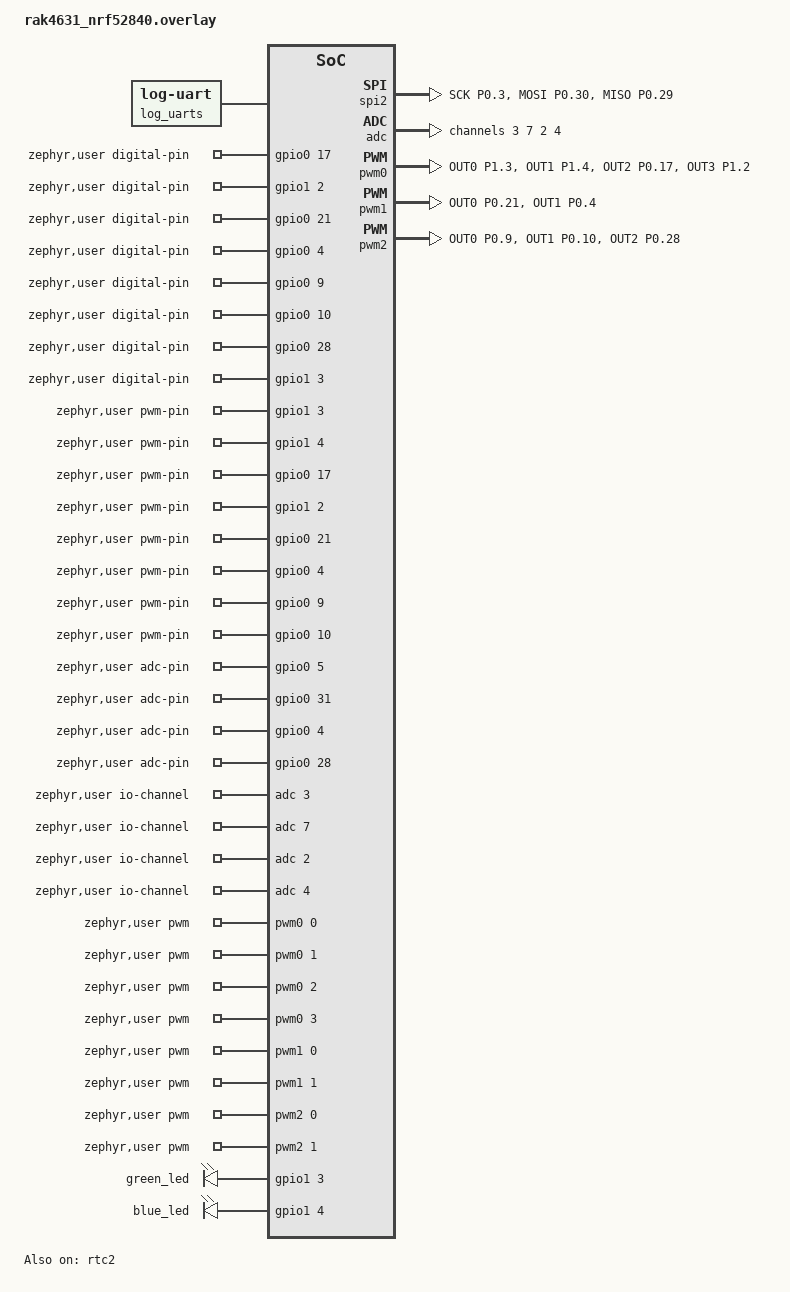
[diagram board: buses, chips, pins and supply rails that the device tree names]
/*
 * Copyright (c) 2026 RAKwireless Technology Limited
 * Author: sercan.erat@rakwireless.com
 * SPDX-License-Identifier: Apache-2.0
 */

/{
	chosen {
		zephyr,console = &board_cdc_acm_logging;
		zephyr,log-uart = &log_uarts;
		zephyr,shell-uart = &board_cdc_acm_shell;
		zephyr,code-partition = &code_partition;
	};

	aliases {
		/* LED_BUILTIN resolves to the green LED (D7). */
		led0 = &green_led;
	};

	log_uarts: log_uarts {
		compatible = "zephyr,log-uart";
		uarts = <&board_cdc_acm_logging>;
	};
};

/*
 * USB CDC-ACM ports, in enumeration order:
 *  1. logging: console (printk/stdout msg)+ log backend
 *  2. sketch:  the sketch's 'Serial' (SerialUSB)
 *  3. shell:   Zephyr shell (debug builds only, unused otherwise)
 */
&zephyr_udc0 {
	board_cdc_acm_logging: board_cdc_acm_logging {
		compatible = "zephyr,cdc-acm-uart";
		status = "okay";
	};

	board_cdc_acm_sketch: board_cdc_acm_sketch {
		compatible = "zephyr,cdc-acm-uart";
		status = "okay";
	};

	board_cdc_acm_shell: board_cdc_acm_shell {
		compatible = "zephyr,cdc-acm-uart";
		status = "okay";
	};

	num-bidir-endpoints = <1>;
	num-in-endpoints = <6>;
	num-out-endpoints = <3>;
	num-isoin-endpoints = <0>;
	num-isoout-endpoints = <0>;
};

/*
 * The RAK4631 LEDs are active high: green on P1.03 (D7),
 * blue on P1.04 (D8). The base board declares them active low.
 */
&green_led {
	gpios = <&gpio1 3 GPIO_ACTIVE_HIGH>;
};

&blue_led {
	gpios = <&gpio1 4 GPIO_ACTIVE_HIGH>;
};

/* WB_IO5/WB_IO6 (P0.09/P0.10) are the NFC pins; use them as GPIOs. */
&nfct {
	status = "disabled";
};

&uicr {
	nfct-pins-as-gpios;
};

/* RTC backend for the Arduino RTC library */
&rtc2 {
	status = "okay";
};

/* Shares the TWI1/SPI1 instance with the SX1262 SPI; keep disabled. */
&i2c1 {
	status = "disabled";
};

/*
 * The board enables QSPI on P0.03/P0.30/P0.29/P0.28/P0.02/P0.26, but
 * these pins are repurposed as SPI2, A3/D6 and the D11 CS GPIO.
 */
&qspi {
	status = "disabled";
	pinctrl-0 = <&qspi_default>;
	pinctrl-1 = <&qspi_sleep>;
	pinctrl-names = "default", "sleep";
};

/* WisBlock header SPI: SCK P0.03, MOSI P0.30, MISO P0.29 */
&spi2 {
	compatible = "nordic,nrf-spi";
	status = "okay";
	cs-gpios = <&gpio0 26 GPIO_ACTIVE_LOW>;
	pinctrl-0 = <&spi2_default>;
	pinctrl-1 = <&spi2_sleep>;
	pinctrl-names = "default", "sleep";
};

/delete-node/ &boot_partition;
/delete-node/ &slot0_partition;
/delete-node/ &slot1_partition;

&flash0 {
	partitions {
		compatible = "fixed-partitions";
		#address-cells = <1>;
		#size-cells = <1>;

		code_partition: partition@0 {
			label = "code";
			reg = <0x00000000 0x00070000>;
			read-only;
		};

		user_sketch: partition@70000 {
			label = "user";
			reg = <0x070000 0x88000>;
		};

		/*
		 * The flash starting at 0x000f8000 and ending at
		 * 0x000fffff is reserved for use by the application.
		 *
		 * Storage partition will be used by FCB/LittleFS/NVS
		 * if enabled.
		 */
		storage_partition: partition@f8000 {
			label = "storage";
			reg = <0x000f8000 0x00008000>;
		};
	};
};

/* Arduino API pin mappings */
/ {
	zephyr,user {
		digital-pin-gpios = <&gpio0 17 0>,	/* D0 - WB_IO1 */
				    <&gpio1 2 0>,	/* D1 - WB_IO2 */
				    <&gpio0 21 0>,	/* D2 - WB_IO3 */
				    <&gpio0 4 0>,	/* D3 - WB_IO4 */
				    <&gpio0 9 0>,	/* D4 - WB_IO5 */
				    <&gpio0 10 0>,	/* D5 - WB_IO6 */
				    <&gpio0 28 0>,	/* D6 - WB_IO7 (AIN4) */
				    <&gpio1 3 0>,	/* D7 - green LED */
				    <&gpio1 4 0>,	/* D8 - blue LED */
				    <&gpio0 5 0>,	/* D9 - WB_A0 (AIN3) */
				    <&gpio0 31 0>,	/* D10 - WB_A1 (AIN7) */
				    <&gpio0 26 0>,	/* D11 - WB_SPI_CS */
				    <&gpio1 1 0>;	/* D12 - WB_SW1 */

		pwm-pin-gpios = <&gpio1 3 0>,	/* D7 - green LED */
				<&gpio1 4 0>,	/* D8 - blue LED */
				<&gpio0 17 0>,	/* D0 - WB_IO1 */
				<&gpio1 2 0>,	/* D1 - WB_IO2 */
				<&gpio0 21 0>,	/* D2 - WB_IO3 */
				<&gpio0 4 0>,	/* D3 - WB_IO4 */
				<&gpio0 9 0>,	/* D4 - WB_IO5 */
				<&gpio0 10 0>,	/* D5 - WB_IO6 */
				<&gpio0 28 0>;	/* D6 - WB_IO7 */

		/*
		 * WisBlock analog pins. On the RAK19007 base board, A0
		 * (WB_A0/AIN0) is also wired to the battery voltage
		 * divider (1.5 MOhm / 2.5 MOhm): VBAT = A0 * 5 / 3.
		 */
		adc-pin-gpios = <&gpio0 5 0>,	/* A0 - WB_A0 */
				<&gpio0 31 0>,	/* A1 - WB_A1 */
				<&gpio0 4 0>,	/* A2 - WB_IO4 (D3) */
				<&gpio0 28 0>;	/* A3 - WB_IO7 (D6) */

		pwms = <&pwm0 0 255 PWM_POLARITY_NORMAL>,
		       <&pwm0 1 255 PWM_POLARITY_NORMAL>,
		       <&pwm0 2 255 PWM_POLARITY_NORMAL>,
		       <&pwm0 3 255 PWM_POLARITY_NORMAL>,
		       <&pwm1 0 255 PWM_POLARITY_NORMAL>,
		       <&pwm1 1 255 PWM_POLARITY_NORMAL>,
		       <&pwm2 0 255 PWM_POLARITY_NORMAL>,
		       <&pwm2 1 255 PWM_POLARITY_NORMAL>,
		       <&pwm2 2 255 PWM_POLARITY_NORMAL>;

		io-channels = <&adc 3>,	/* A0 - WB_A0 (AIN3) */
			      <&adc 7>,	/* A1 - WB_A1 (AIN7) */
			      <&adc 2>,	/* A2 - WB_IO4 (AIN2) */
			      <&adc 4>;	/* A3 - WB_IO7 (AIN4) */

		i2cs = <&i2c0>;	/* 'Wire': WisBlock sensor I2C (SDA P0.13, SCL P0.14) */
		spis = <&spi2>;	/* 'SPI': WisBlock header SPI */

		cdc-acm-serial = <&board_cdc_acm_sketch>; /* 'Serial' object is managed by SerialUSB */
		serials = <&uart0>, <&uart1>;
	};
};

&adc {
	#address-cells = <1>;
	#size-cells = <0>;

	channel@3 {
		reg = <3>;
		zephyr,gain = "ADC_GAIN_1_6";
		zephyr,reference = "ADC_REF_INTERNAL";
		zephyr,acquisition-time = <ADC_ACQ_TIME_DEFAULT>;
		zephyr,input-positive = <NRF_SAADC_AIN3>; /* P0.05 - WB_A0 */
		zephyr,resolution = <10>;
	};

	channel@7 {
		reg = <7>;
		zephyr,gain = "ADC_GAIN_1_6";
		zephyr,reference = "ADC_REF_INTERNAL";
		zephyr,acquisition-time = <ADC_ACQ_TIME_DEFAULT>;
		zephyr,input-positive = <NRF_SAADC_AIN7>; /* P0.31 - WB_A1 */
		zephyr,resolution = <10>;
	};

	channel@2 {
		reg = <2>;
		zephyr,gain = "ADC_GAIN_1_6";
		zephyr,reference = "ADC_REF_INTERNAL";
		zephyr,acquisition-time = <ADC_ACQ_TIME_DEFAULT>;
		zephyr,input-positive = <NRF_SAADC_AIN2>; /* P0.04 - WB_IO4 */
		zephyr,resolution = <10>;
	};

	channel@4 {
		reg = <4>;
		zephyr,gain = "ADC_GAIN_1_6";
		zephyr,reference = "ADC_REF_INTERNAL";
		zephyr,acquisition-time = <ADC_ACQ_TIME_DEFAULT>;
		zephyr,input-positive = <NRF_SAADC_AIN4>; /* P0.28 - WB_IO7 */
		zephyr,resolution = <10>;
	};
};

&pwm0 {
	status = "okay";
	pinctrl-0 = <&pwm0_default>;
	pinctrl-1 = <&pwm0_sleep>;
	pinctrl-names = "default", "sleep";
};

&pwm1 {
	status = "okay";
	pinctrl-0 = <&pwm1_default>;
	pinctrl-1 = <&pwm1_sleep>;
	pinctrl-names = "default", "sleep";
};

&pwm2 {
	status = "okay";
	pinctrl-0 = <&pwm2_default>;
	pinctrl-1 = <&pwm2_sleep>;
	pinctrl-names = "default", "sleep";
};

&pinctrl {
	pwm0_default: pwm0_default {
		group1 {
			psels = <NRF_PSEL(PWM_OUT0, 1, 3)>,
				<NRF_PSEL(PWM_OUT1, 1, 4)>,
				<NRF_PSEL(PWM_OUT2, 0, 17)>,
				<NRF_PSEL(PWM_OUT3, 1, 2)>;
		};
	};

	pwm0_sleep: pwm0_sleep {
		group1 {
			psels = <NRF_PSEL(PWM_OUT0, 1, 3)>,
				<NRF_PSEL(PWM_OUT1, 1, 4)>,
				<NRF_PSEL(PWM_OUT2, 0, 17)>,
				<NRF_PSEL(PWM_OUT3, 1, 2)>;
				low-power-enable;
		};
	};

	pwm1_default: pwm1_default {
		group1 {
			psels = <NRF_PSEL(PWM_OUT0, 0, 21)>,
				<NRF_PSEL(PWM_OUT1, 0, 4)>;
		};
	};

	pwm1_sleep: pwm1_sleep {
		group1 {
			psels = <NRF_PSEL(PWM_OUT0, 0, 21)>,
				<NRF_PSEL(PWM_OUT1, 0, 4)>;
				low-power-enable;
		};
	};

	pwm2_default: pwm2_default {
		group1 {
			psels = <NRF_PSEL(PWM_OUT0, 0, 9)>,
				<NRF_PSEL(PWM_OUT1, 0, 10)>,
				<NRF_PSEL(PWM_OUT2, 0, 28)>;
		};
	};

	pwm2_sleep: pwm2_sleep {
		group1 {
			psels = <NRF_PSEL(PWM_OUT0, 0, 9)>,
				<NRF_PSEL(PWM_OUT1, 0, 10)>,
				<NRF_PSEL(PWM_OUT2, 0, 28)>;
				low-power-enable;
		};
	};

	spi2_default: spi2_default {
		group1 {
			psels = <NRF_PSEL(SPIM_SCK, 0, 3)>,
				<NRF_PSEL(SPIM_MOSI, 0, 30)>,
				<NRF_PSEL(SPIM_MISO, 0, 29)>;
		};
	};

	spi2_sleep: spi2_sleep {
		group1 {
			psels = <NRF_PSEL(SPIM_SCK, 0, 3)>,
				<NRF_PSEL(SPIM_MOSI, 0, 30)>,
				<NRF_PSEL(SPIM_MISO, 0, 29)>;
			low-power-enable;
		};
	};

	qspi_default: qspi_default {
		group1 {
			psels = <NRF_PSEL(QSPI_SCK, 0, 3)>,
				<NRF_PSEL(QSPI_IO0, 0, 30)>,
				<NRF_PSEL(QSPI_IO1, 0, 29)>,
				<NRF_PSEL(QSPI_IO2, 0, 28)>,
				<NRF_PSEL(QSPI_IO3, 0, 2)>,
				<NRF_PSEL(QSPI_CSN, 0, 26)>;
		};
	};

	qspi_sleep: qspi_sleep {
		group1 {
			psels = <NRF_PSEL(QSPI_SCK, 0, 3)>,
				<NRF_PSEL(QSPI_IO0, 0, 30)>,
				<NRF_PSEL(QSPI_IO1, 0, 29)>,
				<NRF_PSEL(QSPI_IO2, 0, 28)>,
				<NRF_PSEL(QSPI_IO3, 0, 2)>,
				<NRF_PSEL(QSPI_CSN, 0, 26)>;
			low-power-enable;
		};
	};
};
